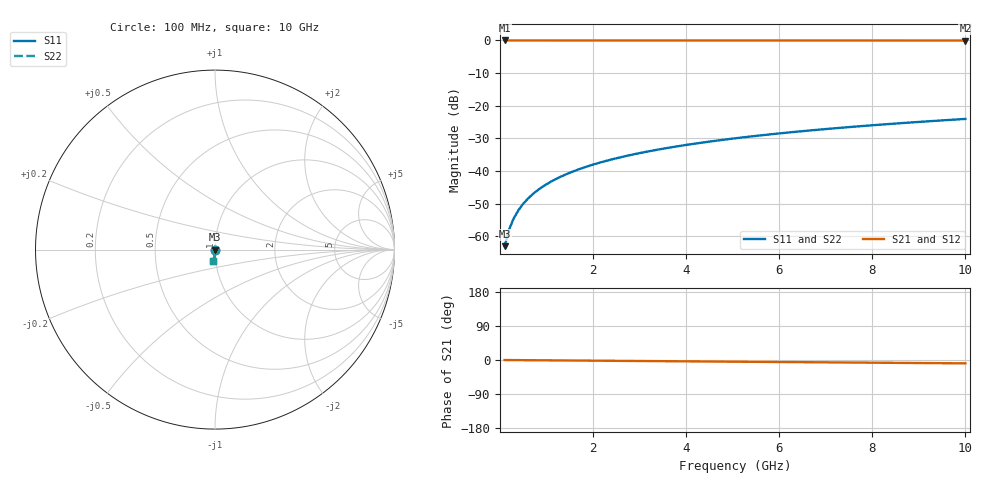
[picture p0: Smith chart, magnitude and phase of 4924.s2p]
# Hz S RI R 50.00
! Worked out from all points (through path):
!   100 points, 100 MHz to 10 GHz, reference 50 ohm
!   highest |S21| = 0.00 dB at 100 MHz (marker M1); lowest = 0.0 dB at 10 GHz (marker M2)
!   group delay of S21, straight-line fit = 2.46 ps
!   lowest |S11| = -63.0 dB at 100 MHz (marker M3), VSWR 1.00, Z = 50 - j0.0626 ohm
!   |S11| at or under -10 dB: start of sweep to end of sweep
!   |S22| runs from -63.0 to -24.1 dB; largest |S21 - S12| = 0
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1e8  0.000323 -0.000625  0.9997 -0.00154  0.9997 -0.00154  0.000323 -0.000625
2e8  0.000321 -0.00125  0.9997 -0.00307  0.9997 -0.00307  0.000321 -0.00125
3e8  0.000317 -0.00188  0.9997 -0.00461  0.9997 -0.00461  0.000317 -0.00188
4e8  0.000311 -0.0025  0.9996 -0.00615  0.9996 -0.00615  0.000311 -0.0025
5e8  0.000302 -0.00313  0.9996 -0.00769  0.9996 -0.00769  0.000302 -0.00313
6e8  0.000292 -0.00375  0.9996 -0.00922  0.9996 -0.00922  0.000292 -0.00375
7e8  0.000279 -0.00438  0.9996 -0.0108  0.9996 -0.0108  0.000279 -0.00438
8e8  0.000264 -0.005  0.9996 -0.0123  0.9996 -0.0123  0.000264 -0.005
9e8  0.000248 -0.00563  0.9995 -0.0138  0.9995 -0.0138  0.000248 -0.00563
1.1e9  0.000209 -0.00688  0.9995 -0.0169  0.9995 -0.0169  0.000209 -0.00688
1.4e9  0.000135 -0.00876  0.9994 -0.0215  0.9994 -0.0215  0.000135 -0.00876
1.8e9  1.04e-05 -0.0113  0.9992 -0.0277  0.9992 -0.0277  1.04e-05 -0.0113
2.1e9  -0.000104 -0.0131  0.999 -0.0323  0.999 -0.0323  -0.000104 -0.0131
2.5e9  -0.000283 -0.0156  0.9988 -0.0384  0.9988 -0.0384  -0.000283 -0.0156
2.9e9  -0.000494 -0.0181  0.9985 -0.0446  0.9985 -0.0446  -0.000494 -0.0181
3.4e9  -0.0008 -0.0213  0.998 -0.0523  0.998 -0.0523  -0.0008 -0.0213
4.2e9  -0.00139 -0.0263  0.9972 -0.0646  0.9972 -0.0646  -0.00139 -0.0263
5.1e9  -0.00221 -0.0319  0.996 -0.0784  0.996 -0.0784  -0.00221 -0.0319
5.9e9  -0.00306 -0.0368  0.9948 -0.0907  0.9948 -0.0907  -0.00306 -0.0368
6.7e9  -0.00404 -0.0418  0.9934 -0.103  0.9934 -0.103  -0.00404 -0.0418
8.4e9  -0.00653 -0.0522  0.9898 -0.1291  0.9898 -0.1291  -0.00653 -0.0522
1e10  -0.00938 -0.062  0.9857 -0.1536  0.9857 -0.1536  -0.00938 -0.062
